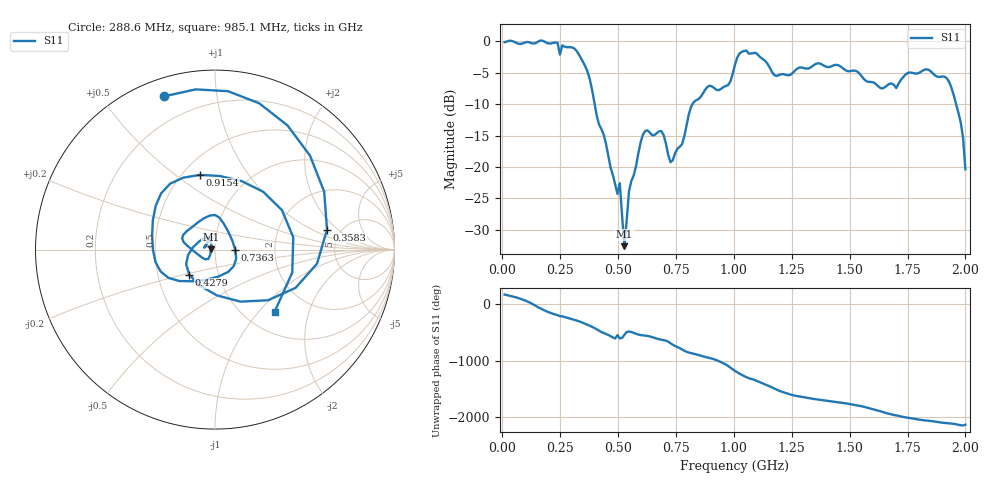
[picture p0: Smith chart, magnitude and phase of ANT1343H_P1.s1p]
!Created with skrf (http://scikit-rf.org).
# Hz S RI R 50.0
!freq ReS11 ImS11
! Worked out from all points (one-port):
!   201 points, 10 MHz to 2 GHz, reference 50 ohm
!   lowest |S11| = -32.7 dB at 527.4 MHz (marker M1), VSWR 1.05, Z = 47.7 + j0.134 ohm
!   |S11| at or under -10 dB: 398.9 MHz to 821.5 MHz (422.6 MHz wide, 69.2 % of centre); 1.96 GHz to end of sweep
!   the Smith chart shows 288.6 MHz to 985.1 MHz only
!   S11 on the Smith chart (normalised r, x): 288.6 MHz: 0.08, +0.72; 358.2 MHz: 3.89, +1.45; 427.9 MHz: 0.72, -0.21; 736.4 MHz: 1.25, -0.00; 915.5 MHz: 0.61, +0.62; 985.1 MHz: 1.36, -1.22
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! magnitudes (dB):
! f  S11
! 10 MHz  -0.1
! 238.8 MHz  -0.2
! 248.8 MHz  -2.1
! 258.8 MHz  -0.6
! 288.6 MHz  -0.9
! 358.2 MHz  -4.0
! 427.9 MHz  -14.0
! 497.6 MHz  -24.3
! 507.5 MHz  -22.6
! 527.4 MHz  -32.7
! 547.3 MHz  -23.9
! 607 MHz  -14.9
! 686.6 MHz  -14.3
! 736.4 MHz  -18.9
! 756.2 MHz  -17.1
! 825.9 MHz  -9.7
! 915.5 MHz  -7.4
! 985.1 MHz  -6.4
! 1.005 GHz  -3.7
! 1.055 GHz  -1.5
! 1.174 GHz  -5.3
! 1.254 GHz  -5.0
! 1.502 GHz  -4.7
! 1.642 GHz  -7.5
! 1.751 GHz  -5.0
! 1.93 GHz  -6.5
! 1.98 GHz  -13.0
! 2 GHz  -20.4
